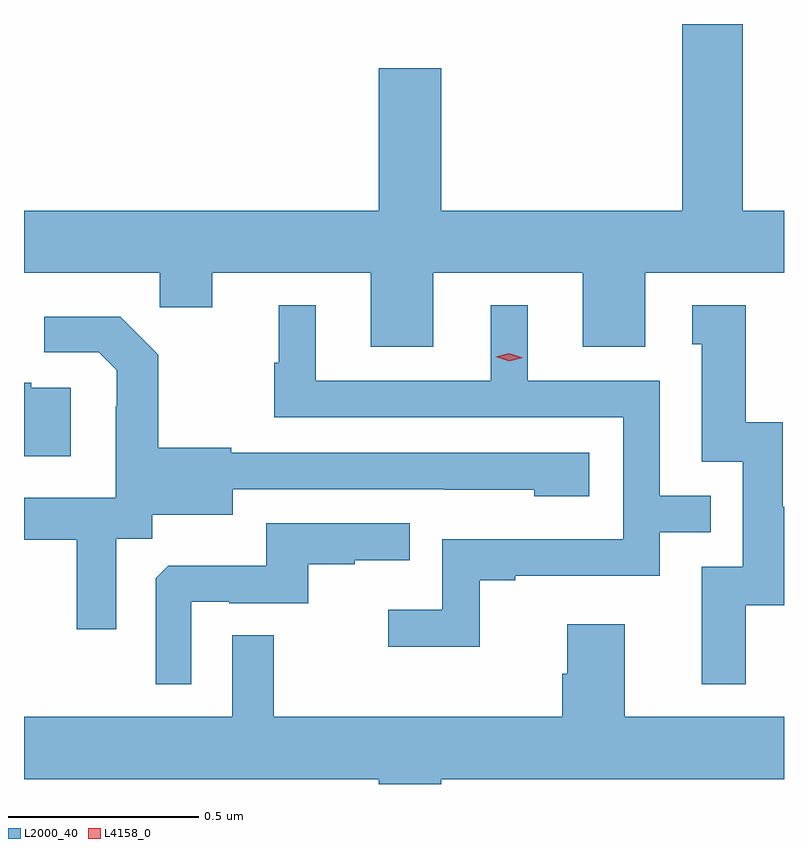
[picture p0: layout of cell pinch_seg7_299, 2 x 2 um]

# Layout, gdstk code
import gdstk
lib = gdstk.Library(unit=1e-6, precision=1e-09)
def P(c, l, *ps):  # polygons
    for p in ps: c.add(gdstk.Polygon(p, *l))
L2000_40 = (2000, 40)
L4158_0 = (4158, 0)

pinch_seg7_299 = lib.new_cell('pinch_seg7_299')
P(pinch_seg7_299, L2000_40, [(572.743,1047.236),(573.137,1047.236),(573.137,1047.042),(573.301,1047.042),(573.301,1047.236),(573.666,1047.236),(573.666,1047.4),(573.558,1047.4),(573.558,1047.891),(573.398,1047.891),(573.398,1047.4),(572.764,1047.4),(572.764,1047.775),(572.6,1047.775),(572.6,1047.4),(571.666,1047.4),(571.666,1047.236),(572.023,1047.236),(572.023,1047.146),(572.161,1047.146),(572.161,1047.236),(572.579,1047.236),(572.579,1047.042),(572.743,1047.042)],
  [(573.565,1046.362),(573.666,1046.362),(573.666,1046.62),(573.663,1046.62),(573.663,1046.843),(573.565,1046.843),(573.565,1047.151),(573.425,1047.151),(573.425,1047.048),(573.449,1047.048),(573.449,1046.739),(573.558,1046.739),(573.558,1046.463),(573.449,1046.463),(573.449,1046.154),(573.565,1046.154)],
  [(572.865,1046.427),(572.959,1046.427),(572.959,1046.439),(573.339,1046.439),(573.339,1046.553),(573.473,1046.553),(573.473,1046.649),(573.339,1046.649),(573.339,1046.952),(572.992,1046.952),(572.992,1047.151),(572.894,1047.151),(572.894,1046.952),(572.434,1046.952),(572.434,1047.151),(572.336,1047.151),(572.336,1047),(572.325,1047),(572.325,1046.856),(573.243,1046.856),(573.243,1046.535),(572.766,1046.535),(572.766,1046.35),(572.625,1046.35),(572.625,1046.252),(572.865,1046.252)],
  [(571.909,1046.536),(572.004,1046.536),(572.004,1046.6),(572.215,1046.6),(572.215,1046.667),(572.773,1046.667),(572.773,1046.666),(573.009,1046.666),(573.009,1046.648),(573.154,1046.648),(573.154,1046.763),(572.211,1046.763),(572.211,1046.776),(572.019,1046.776),(572.019,1047.021),(571.919,1047.121),(571.719,1047.121),(571.719,1047.027),(571.863,1047.027),(571.91,1046.98),(571.91,1046.885),(571.908,1046.885),(571.908,1046.644),(571.666,1046.644),(571.666,1046.534),(571.805,1046.534),(571.805,1046.298),(571.909,1046.298)],
  [(571.789,1046.934),(571.685,1046.934),(571.685,1046.947),(571.666,1046.947),(571.666,1046.754),(571.789,1046.754)],
  [(572.106,1046.37),(572.206,1046.37),(572.206,1046.367),(572.414,1046.367),(572.414,1046.469),(572.537,1046.469),(572.537,1046.48),(572.681,1046.48),(572.681,1046.577),(572.304,1046.577),(572.304,1046.465),(572.045,1046.465),(572.013,1046.433),(572.013,1046.153),(572.106,1046.153)],
  [(572.764,1045.904),(573.666,1045.904),(573.666,1046.068),(573.247,1046.068),(573.247,1046.311),(573.095,1046.311),(573.095,1046.181),(573.083,1046.181),(573.083,1046.068),(572.323,1046.068),(572.323,1046.282),(572.214,1046.282),(572.214,1046.068),(571.666,1046.068),(571.666,1045.904),(572.6,1045.904),(572.6,1045.891),(572.764,1045.891)])
P(pinch_seg7_299, L4158_0, [(572.943,1047.004),(572.907,1047.015),(572.907,1047.015),(572.907,1047.016),(572.943,1047.024),(572.979,1047.013),(572.979,1047.013),(572.979,1047.013)])

lib.write_gds('pinch_seg7_299.gds')
